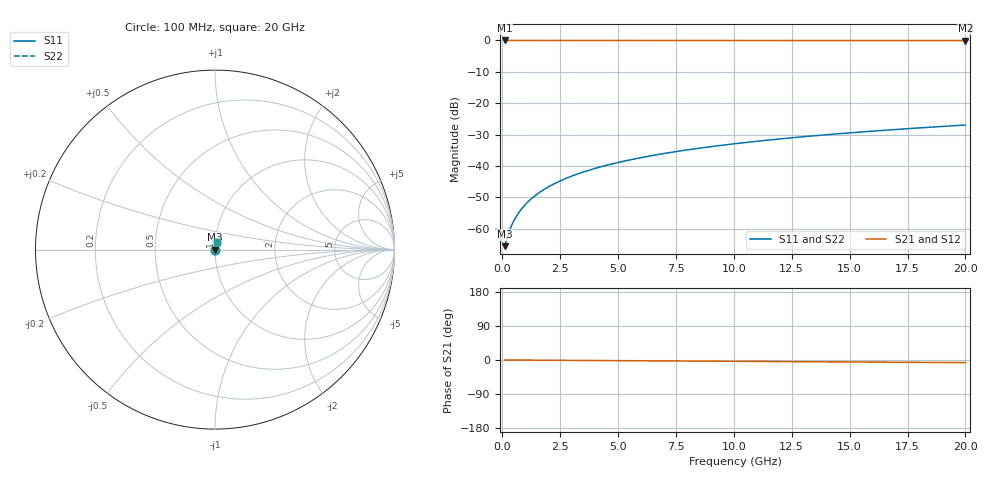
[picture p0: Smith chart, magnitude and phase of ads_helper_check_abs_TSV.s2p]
! Created Tue Jul  7 16:39:38 2026
# hz S ma R 50
! Port[1] Term1
! Port[2] Term2
! 2 Port Network Data from SP1.SP block
! freq  magS11  angS11  magS21  angS21  magS12  angS12  magS22  angS22
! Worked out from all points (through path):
!   200 points, 100 MHz to 20 GHz, reference 50 ohm
!   highest |S21| = 0.00 dB at 100 MHz (marker M1); lowest = 0.0 dB at 20 GHz (marker M2)
!   lowest |S11| = -65.6 dB at 100 MHz (marker M3), VSWR 1.00, Z = 50 + j0.0223 ohm
!   |S11| at or under -10 dB: start of sweep to end of sweep
!   |S22| runs from -65.6 to -27.0 dB; largest |S21 - S12| = 0
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1e8  0.000524 25.2  0.9995 -0.0  0.9995 -0.0  0.000524 25.2
2e8  0.0007062 39.1  0.9995 -0.1  0.9995 -0.1  0.0007062 39.1
3e8  0.000907 47.5  0.9994 -0.1  0.9994 -0.1  0.000907 47.5
4e8  0.001116 53.0  0.9993 -0.1  0.9993 -0.1  0.001116 53.0
5e8  0.00133 56.9  0.9993 -0.2  0.9993 -0.2  0.00133 56.9
6e8  0.001547 59.8  0.9992 -0.2  0.9992 -0.2  0.001547 59.8
8e8  0.001984 63.9  0.9991 -0.3  0.9991 -0.3  0.001984 63.9
1e9  0.002424 66.7  0.9991 -0.3  0.9991 -0.3  0.002424 66.7
1.2e9  0.002866 68.7  0.999 -0.4  0.999 -0.4  0.002866 68.7
1.4e9  0.00331 70.2  0.9989 -0.5  0.9989 -0.5  0.00331 70.2
1.7e9  0.003976 72.0  0.9988 -0.6  0.9988 -0.6  0.003976 72.0
2.2e9  0.005087 74.0  0.9986 -0.8  0.9986 -0.8  0.005087 74.0
2.8e9  0.006422 75.6  0.9985 -1.0  0.9985 -1.0  0.006422 75.6
3.5e9  0.00798 76.8  0.9983 -1.2  0.9983 -1.2  0.00798 76.8
4.2e9  0.009539 77.6  0.9981 -1.5  0.9981 -1.5  0.009539 77.6
5e9  0.01132 78.3  0.998 -1.7  0.998 -1.7  0.01132 78.3
6.8e9  0.01533 79.1  0.9976 -2.4  0.9976 -2.4  0.01533 79.1
8.3e9  0.01867 79.4  0.9973 -2.9  0.9973 -2.9  0.01867 79.4
1.01e10  0.02268 79.5  0.997 -3.5  0.997 -3.5  0.02268 79.5
1.34e10  0.03003 79.3  0.9964 -4.6  0.9964 -4.6  0.03003 79.3
1.67e10  0.03738 78.8  0.9958 -5.8  0.9958 -5.8  0.03738 78.8
2e10  0.04475 78.1  0.9951 -6.9  0.9951 -6.9  0.04475 78.1
